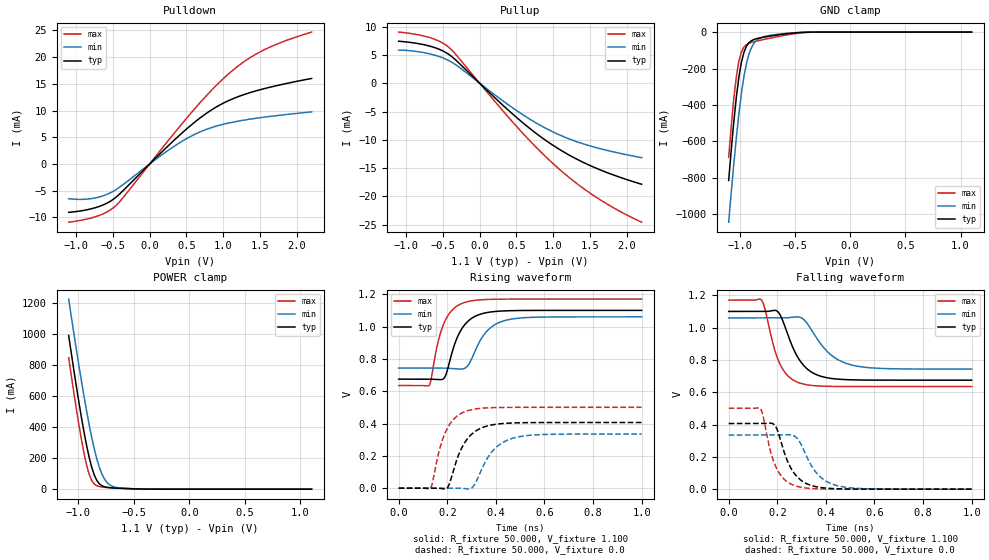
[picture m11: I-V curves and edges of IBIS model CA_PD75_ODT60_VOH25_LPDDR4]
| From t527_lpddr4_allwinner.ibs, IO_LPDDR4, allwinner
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|   Model CA_PD75_ODT60_VOH25_LPDDR4
[Model] CA_PD75_ODT60_VOH25_LPDDR4
Model_type 3-state
Polarity   Non-Inverting
Enable   Active-Low
C_comp   1.526pF   1.486pF   1.579pF
C_comp_pullup   0.524pF   0.506pF   0.545pF
C_comp_pulldown   0.805pF   0.786pF   0.835pF
[Temperature Range]   25.000   0.125k   -40.000
[Voltage Range]   1.100V   1.060V   1.170V
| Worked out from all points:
|   slope of the pulldown table from 0 to 0.165 V, typ, clamps not added: 73.5 ohm
|   slope of the pullup table from 0 to 0.165 V, typ, clamps not added: 80.1 ohm
|   GND clamp passes 1 mA (typ) near -0.41 V on its own axis
|   POWER clamp passes 1 mA (typ) near -0.43 V on its own axis
|   rising waveform, R_fixture 50.000, V_fixture 1.100: 20-80 % time 68.2ps typ, 79.1ps min, 59.5ps max; typ from 0.675 V to 1.1 V
|   rising waveform, R_fixture 50.000, V_fixture 0.0: 20-80 % time 74.6ps typ, 86.4ps min, 64.3ps max; typ from 0 V to 0.406 V
|   falling waveform, R_fixture 50.000, V_fixture 1.100: 20-80 % time 82.7ps typ, 108ps min, 65.1ps max; typ from 1.1 V to 0.675 V
|   falling waveform, R_fixture 50.000, V_fixture 0.0: 20-80 % time 69.6ps typ, 83.1ps min, 59.2ps max; typ from 0.406 V to 0 V
[Pulldown]
|Voltage   I(typ)   I(min)   I(max)
-1.1V     -9.042mA   -6.493mA   -10.89mA
-930mV    -8.762mA   -6.625mA   -10.53mA
-760mV    -8.26mA    -6.405mA   -9.968mA
-590mV    -7.397mA   -5.735mA   -9.049mA
-454mV    -6.178mA   -4.77mA    -7.737mA
396mV     5.259mA    3.877mA    6.812mA
668mV     8.44mA     5.907mA    11.21mA
940mV     10.94mA    7.223mA    15.18mA
1.212V    12.65mA    8.048mA    18.44mA
1.484V    13.83mA    8.633mA    20.86mA
1.79V     14.86mA    9.156mA    22.77mA
2.2V      16.01mA    9.751mA    24.69mA
[Pullup]
|Voltage   I(typ)   I(min)   I(max)
-1.1V     7.428mA    5.851mA    9.045mA
-690mV    6.608mA    5.228mA    8.118mA
-520mV    5.839mA    4.581mA    7.239mA
-418mV    5.091mA    3.997mA    6.347mA
-282mV    3.584mA    2.878mA    4.448mA
466mV     -5.65mA    -4.511mA   -7.12mA
738mV     -8.578mA   -6.799mA   -10.94mA
1.01V     -11.09mA   -8.694mA   -14.37mA
1.282V    -13.17mA   -10.16mA   -17.36mA
1.554V    -14.86mA   -11.28mA   -19.91mA
1.86V     -16.42mA   -12.26mA   -22.33mA
2.2V      -17.86mA   -13.16mA   -24.57mA
[GND_clamp]
|Voltage   I(typ)   I(min)   I(max)
-1.1V     -814.2mA   -1.043A    -687.2mA
-1.054V   -495mA     -726.6mA   -368.4mA
-1.031V   -359.8mA   -581.8mA   -246.6mA
-1.008V   -248.8mA   -450.8mA   -160.4mA
-985mV    -166.1mA   -337.2mA   -108.9mA
-962mV    -110.9mA   -243.9mA   -82mA
-939mV    -77.34mA   -172mA     -68.54mA
-893mV    -47.19mA   -84.42mA   -56.41mA
-847mV    -36.11mA   -45.88mA   -49.32mA
-709mV    -20.5mA    -16.45mA   -31.34mA
-364mV    -357.3uA   -448.4uA   -961.5uA
1.1V      0A         0A         0A
[POWER_clamp]
|Voltage   I(typ)   I(min)   I(max)
-1.085V   991.5mA    1.227A     848.5mA
-1.016V   664.1mA    901.8mA    518.1mA
-970mV    462mA      696.7mA    319.4mA
-924mV    282.7mA    505.5mA    156.2mA
-901mV    206.2mA    417.2mA    96.77mA
-855mV    91.54mA    261mA      33.12mA
-809mV    34.38mA    141.1mA    16.55mA
-763mV    15.18mA    65.46mA    12.33mA
-717mV    9.406mA    28.28mA    10.15mA
-625mV    5.459mA    7.413mA    6.616mA
-441mV    1.153mA    1.563mA    1.234mA
1.1V      0A         0A         0A
[Ramp]
| variable   typ   min   max
dV/dt_r   0.244/74.623p   0.201/86.432p   0.300/64.375p
dV/dt_f   0.255/82.825p   0.190/0.108n   0.321/65.230p
R_load = 50.000
[Rising Waveform]
R_fixture= 50.000
V_fixture= 1.100
V_fixture_min= 1.060
V_fixture_max= 1.170
|time   V(typ)   V(min)   V(max)
0s        674.6mV    743.1mV    635mV
126ps     674.7mV    743.1mV    637.1mV
161ps     671.8mV    743.2mV    898.5mV
185ps     677.7mV    743.1mV    1.015V
235ps     909.9mV    738.4mV    1.122V
267ps     1.002V     738.9mV    1.147V
289ps     1.038V     767.5mV    1.156V
359ps     1.085V     964.3mV    1.167V
435ps     1.097V     1.036V     1.17V
1ns       1.1V       1.06V      1.17V
[Rising Waveform]
R_fixture= 50.000
V_fixture= 0.0
V_fixture_min= 0.0
V_fixture_max= 0.0
|time   V(typ)   V(min)   V(max)
0s        2.745uV    66.25uV    203.7nV
130ps     357.1uV    73.47uV    -2.091mV
169ps     -641.1uV   51.41uV    243.8mV
194ps     -5.43mV    345.2uV    351.2mV
230ps     134mV      346.5uV    432.4mV
280ps     299.6mV    -4.313mV   477.7mV
309ps     344.7mV    14.19mV    488.4mV
391ps     393.4mV    237.3mV    498.4mV
467ps     403.3mV    307.6mV    500mV
1ns       406.3mV    335mV      500.4mV
[Falling Waveform]
R_fixture= 50.000
V_fixture= 1.100
V_fixture_min= 1.060
V_fixture_max= 1.170
|time   V(typ)   V(min)   V(max)
0s        1.1V       1.06V      1.17V
135ps     1.1V       1.06V      1.171V
187ps     1.107V     1.06V      874.1mV
209ps     1.086V     1.06V      781.4mV
244ps     954.5mV    1.061V     701mV
291ps     800.6mV    1.065V     657.5mV
365ps     706.3mV    928.7mV    639.1mV
422ps     685.3mV    829.9mV    636.1mV
494ps     677.3mV    773.6mV    635.2mV
1ns       674.6mV    743.2mV    635mV
[Falling Waveform]
R_fixture= 50.000
V_fixture= 0.0
V_fixture_min= 0.0
V_fixture_max= 0.0
|time   V(typ)   V(min)   V(max)
0s        406.3mV    335mV      500.4mV
131ps     406.1mV    335mV      497.2mV
141ps     406.3mV    335mV      457mV
171ps     409mV      335mV      240.4mV
193ps     389mV      334.8mV    142.4mV
239ps     185.2mV    337.4mV    47.61mV
273ps     91.91mV    326.6mV    21.22mV
360ps     15.16mV    103.1mV    2.687mV
438ps     3.021mV    25.51mV    422.2uV
1ns       2.778uV    67.29uV    207.1nV
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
